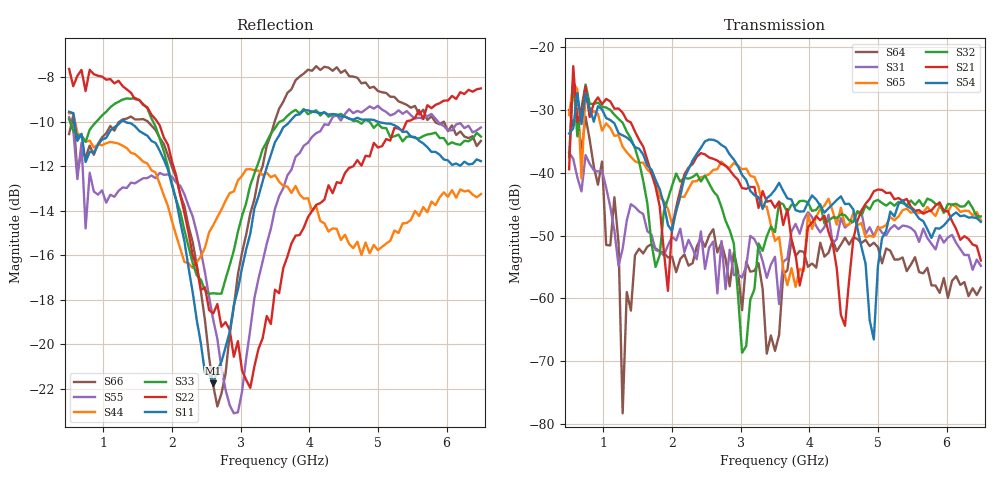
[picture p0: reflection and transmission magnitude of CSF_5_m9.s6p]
!Keysight Technologies,M9804A,MY58100912,A.14.10.03
!Date: Thursday, April 27, 2023 10:28:33
!Correction: S11(C  6-Port  )
!S12(C  6-Port  )
!S13(C  6-Port  )
!S14(C  6-Port  )
!S15(C  6-Port  )
!S16(C  6-Port  )
!S21(C  6-Port  )
!S22(C  6-Port  )
!S23(C  6-Port  )
!S24(C  6-Port  )
!S25(C  6-Port  )
!S26(C  6-Port  )
!S31(C  6-Port  )
!S32(C  6-Port  )
!S33(C  6-Port  )
!S34(C  6-Port  )
!S35(C  6-Port  )
!S36(C  6-Port  )
!S41(C  6-Port  )
!S42(C  6-Port  )
!S43(C  6-Port  )
!S44(C  6-Port  )
!S45(C  6-Port  )
!S46(C  6-Port  )
!S51(C  6-Port  )
!S52(C  6-Port  )
!S53(C  6-Port  )
!S54(C  6-Port  )
!S55(C  6-Port  )
!S56(C  6-Port  )
!S61(C  6-Port  )
!S62(C  6-Port  )
!S63(C  6-Port  )
!S64(C  6-Port  )
!S65(C  6-Port  )
!S66(C  6-Port  )
!S6P File: Measurement: :
# Hz S  RI  R 50
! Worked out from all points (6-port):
!   101 points, 500 MHz to 6.5 GHz, reference 50 ohm
!   strongest paths, dB at 500 MHz, 2 GHz, 3.5 GHz, 5 GHz, 6.5 GHz:
!     S54: -33.8, -49.3, -42.7, -54.9, -47.8
!     S21: -39.4, -48.8, -45.6, -42.7, -54.0
!     S32: -37.5, -42.1, -49.4, -44.3, -47.0
!     S65: -30.8, -48.1, -50.8, -48.8, -47.6
!     S31: -36.8, -50.2, -53.4, -48.6, -54.8
!     S64: -30.0, -53.4, -68.4, -51.9, -58.3
!   lowest |S11| = -21.8 dB at 2.6 GHz (marker M1), VSWR 1.18, Z = 42.7 + j1.98 ohm
!   |S11| at or under -10 dB: 578.5 MHz to 1.259 GHz (680.5 MHz wide, 74.1 % of centre); 1.316 GHz to 3.713 GHz (2.397 GHz wide, 95.3 % of centre); 4.996 GHz to end of sweep
